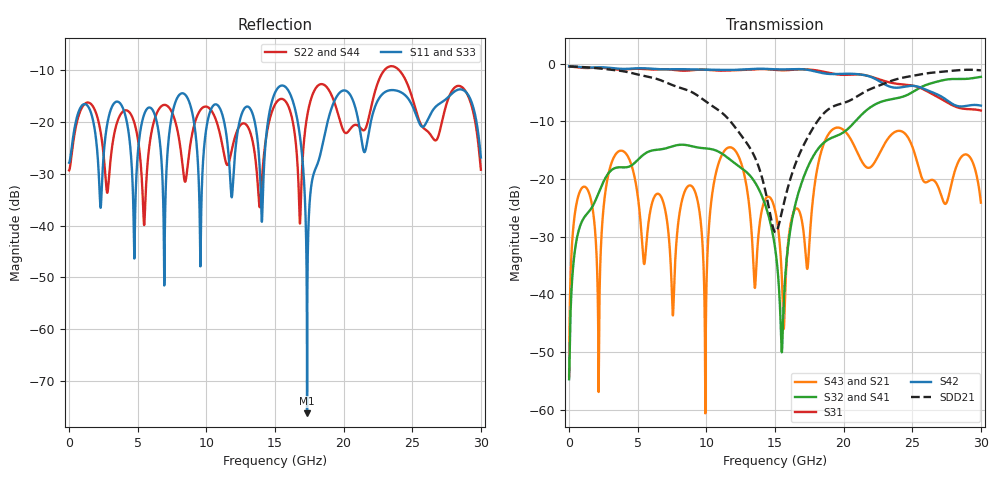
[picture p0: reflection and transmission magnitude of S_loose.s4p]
!diffpair-meanders S_loose (straight pair, 6 mm serpentine on P, folds 1.0 mm apart), mesh coarse
!ports 1 P_near 2 N_near 3 P_far 4 N_far; openEMS FDTD, lumped 50 ohm ports
# Hz S RI R 50.0
! Port[1] = P_near
! Port[2] = N_near
! Port[3] = P_far
! Port[4] = N_far
!freq ReS11 ImS11 ReS12 ImS12 ReS13 ImS13
! ReS14 ImS14
! ReS21 ImS21 ReS22 ImS22 ReS23 ImS23
! ReS24 ImS24
! ReS31 ImS31 ReS32 ImS32 ReS33 ImS33
! ReS34 ImS34
! ReS41 ImS41 ReS42 ImS42 ReS43 ImS43
! ReS44 ImS44
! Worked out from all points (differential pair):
!   3000 points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, 10 MHz to 30 GHz, reference 50 ohm
!   strongest paths, dB at 10 MHz, 7.51 GHz, 15.01 GHz, 22.51 GHz, 30 GHz:
!     S42: -0.4, -0.9, -0.9, -2.9, -7.2
!     S31: -0.5, -1.0, -1.1, -2.6, -8.1
!     S32: -54.7, -14.3, -31.9, -6.8, -2.3
!     S41: -54.7, -14.3, -31.9, -6.8, -2.3
!     S43: -54.2, -40.9, -25.4, -16.0, -24.1
!     S21: -54.2, -40.8, -25.4, -16.0, -24.1
!   taken as a pair (ports 2,1 in; 4,3 out), SDD21 dB: -0.5, -3.7, -29.2, -3.8, -1.1
!   lowest |S11| = -76.2 dB at 17.34 GHz (marker M1), VSWR 1.00, Z = 50 + j0.0151 ohm
!   |S11| at or under -10 dB: start of sweep to end of sweep
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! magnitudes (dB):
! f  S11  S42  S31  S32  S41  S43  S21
! 10 MHz  -27.9  -0.4  -0.5  -54.7  -54.7  -54.2  -54.2
! 3.54 GHz  -16.1  -0.8  -1.0  -18.0  -18.0  -15.3  -15.3
! 7.84 GHz  -15.6  -0.9  -1.1  -14.1  -14.1  -30.4  -30.4
! 15.63 GHz  -13.0  -1.0  -1.1  -42.3  -41.4  -45.7  -45.7
! 17.34 GHz  -76.2  -1.0  -1.0  -18.2  -18.2  -35.5  -35.5
! 19.86 GHz  -14.1  -1.7  -1.9  -12.1  -12.1  -11.2  -11.2
! 30 GHz  -26.9  -7.2  -8.1  -2.3  -2.3  -24.1  -24.1
